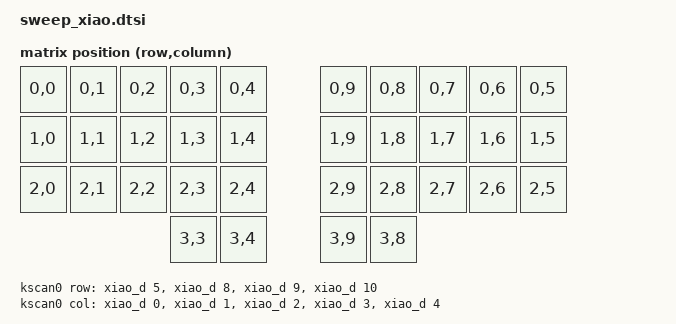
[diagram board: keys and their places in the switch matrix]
/*
 * Sweep-style 34-key split, XIAO nRF52840, 4x5 diode matrix per half.
 *
 * PCB nets (ergogen/config.yaml):  C0..C4 = pinky..inner column  -> D0..D4
 *                                  R0..R3 = top/home/bottom/thumb -> D5, D8, D9, D10
 * Status LEDs (active high, GPIO -> 1k -> LED -> GND), same pins on both halves:
 *   LED1 = D6, LED2 = D7, LED3 = P0.09 (NFC1 pad), LED4 = P0.10 (NFC2 pad)
 *   -> UART0 is disabled and the NFC pads are switched to GPIO (&uicr below)
 *   thumbs: tucky (inner) on C3, reachy (outer) on C4.
 * Diodes: switch between column and anode, cathode on the row -> col2row.
 * The right half uses the same pins; its hardware columns are also numbered
 * pinky->inner, so the transform lists them mirrored with col-offset 5.
 */
#include <dt-bindings/zmk/matrix_transform.h>

/ {
    chosen {
        zmk,kscan = &kscan0;
        zmk,matrix-transform = &default_transform;
    };

    default_transform: keymap_transform_0 {
        compatible = "zmk,matrix-transform";
        columns = <10>;
        rows = <4>;
        map = <
RC(0,0) RC(0,1) RC(0,2) RC(0,3) RC(0,4)    RC(0,9) RC(0,8) RC(0,7) RC(0,6) RC(0,5)
RC(1,0) RC(1,1) RC(1,2) RC(1,3) RC(1,4)    RC(1,9) RC(1,8) RC(1,7) RC(1,6) RC(1,5)
RC(2,0) RC(2,1) RC(2,2) RC(2,3) RC(2,4)    RC(2,9) RC(2,8) RC(2,7) RC(2,6) RC(2,5)
                        RC(3,3) RC(3,4)    RC(3,9) RC(3,8)
        >;
    };

    kscan0: kscan_0 {
        compatible = "zmk,kscan-gpio-matrix";
        diode-direction = "col2row";
        wakeup-source;
        col-gpios
            = <&xiao_d 0 GPIO_ACTIVE_HIGH>
            , <&xiao_d 1 GPIO_ACTIVE_HIGH>
            , <&xiao_d 2 GPIO_ACTIVE_HIGH>
            , <&xiao_d 3 GPIO_ACTIVE_HIGH>
            , <&xiao_d 4 GPIO_ACTIVE_HIGH>
            ;
        row-gpios
            = <&xiao_d 5 (GPIO_ACTIVE_HIGH | GPIO_PULL_DOWN)>
            , <&xiao_d 8 (GPIO_ACTIVE_HIGH | GPIO_PULL_DOWN)>
            , <&xiao_d 9 (GPIO_ACTIVE_HIGH | GPIO_PULL_DOWN)>
            , <&xiao_d 10 (GPIO_ACTIVE_HIGH | GPIO_PULL_DOWN)>
            ;
    };
};

/ {
    status_leds: status_leds {
        compatible = "gpio-leds";
        status_led_1: status_led_1 { gpios = <&xiao_d 6 GPIO_ACTIVE_HIGH>; label = "LED1"; };
        status_led_2: status_led_2 { gpios = <&xiao_d 7 GPIO_ACTIVE_HIGH>; label = "LED2"; };
        status_led_3: status_led_3 { gpios = <&gpio0 9 GPIO_ACTIVE_HIGH>; label = "LED3"; };
        status_led_4: status_led_4 { gpios = <&gpio0 10 GPIO_ACTIVE_HIGH>; label = "LED4"; };
    };
};

/* D6/D7 drive LEDs instead of the UART (the ZMK xiao_ble board already disables
 * xiao_serial = uart0; repeated here so the shield does not depend on that). */
&uart0 {
    status = "disabled";
};

/* P0.09 / P0.10 are the NFC antenna pads by default. This makes Zephyr program
 * UICR.NFCPINS on first boot so they work as plain GPIO (LED3 / LED4).
 * Replaces the deprecated CONFIG_NFCT_PINS_AS_GPIOS. */
&uicr {
    nfct-pins-as-gpios;
};

